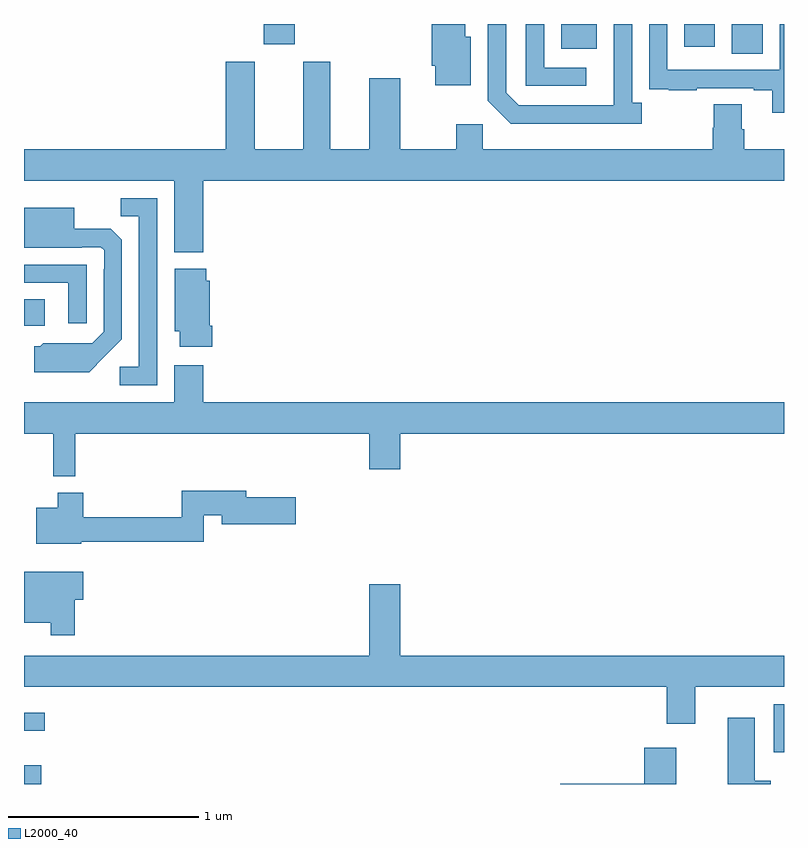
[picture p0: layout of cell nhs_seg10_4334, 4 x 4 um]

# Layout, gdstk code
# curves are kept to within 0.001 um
import gdstk
lib = gdstk.Library(unit=1e-6, precision=1e-09)
def R(c, l, rs):  # rectangles x0, y0, x1, y1
    for r in rs: c.add(gdstk.rectangle(r[:2], r[2:], *l))
def P(c, l, *ps):  # polygons
    for p in ps: c.add(gdstk.Polygon(p, *l))
L2000_40 = (2000, 40)

nhs_seg10_4334 = lib.new_cell('nhs_seg10_4334')
R(nhs_seg10_4334, L2000_40, [(355,1270.5,355.09,1270.6), (358.946,1270.667,359,1270.921), (355,1270.779,355.108,1270.876), (355,1272.912,355.108,1273.052), (358.724,1274.344,358.888,1274.5), (357.827,1274.369,358.015,1274.5), (358.475,1274.379,358.636,1274.5), (356.261,1274.394,356.425,1274.5)])
P(nhs_seg10_4334, L2000_40, [(359,1274.5),(358.977,1274.5),(358.977,1274.259),(358.386,1274.259),(358.386,1274.5),(358.29,1274.5),(358.29,1274.266),(358.291,1274.266),(358.291,1274.157),(358.393,1274.157),(358.393,1274.151),(358.541,1274.151),(358.541,1274.163),(358.841,1274.163),(358.841,1274.151),(358.937,1274.151),(358.937,1274.034),(359,1274.034)],
  [(357.958,1274.271),(357.738,1274.271),(357.738,1274.5),(357.642,1274.5),(357.642,1274.175),(357.958,1274.175)],
  [(357.352,1274.434),(357.322,1274.434),(357.322,1274.5),(357.145,1274.5),(357.145,1274.281),(357.164,1274.281),(357.164,1274.177),(357.352,1274.177)],
  [(358.252,1274.086),(358.2,1274.086),(358.2,1274.5),(358.104,1274.5),(358.103,1274.073),(357.603,1274.073),(357.537,1274.139),(357.537,1274.5),(357.441,1274.5),(357.441,1274.097),(357.562,1273.976),(358.252,1273.976)],
  [(355,1273.676),(355.79,1273.676),(355.79,1273.298),(355.943,1273.298),(355.943,1273.676),(359,1273.676),(359,1273.84),(358.79,1273.84),(358.79,1273.946),(358.777,1273.946),(358.777,1274.078),(358.63,1274.078),(358.63,1273.953),(358.625,1273.953),(358.625,1273.84),(357.414,1273.84),(357.414,1273.972),(357.275,1273.972),(357.275,1273.84),(356.98,1273.84),(356.98,1274.215),(356.816,1274.215),(356.816,1273.84),(356.611,1273.84),(356.611,1274.302),(356.471,1274.302),(356.471,1273.84),(356.215,1273.84),(356.215,1274.302),(356.063,1274.302),(356.063,1273.84),(355,1273.84)],
  [(355.701,1273.584),(355.51,1273.584),(355.51,1273.489),(355.605,1273.489),(355.605,1272.696),(355.503,1272.696),(355.503,1272.6),(355.701,1272.6)],
  [(355.423,1272.749),(355.515,1272.842),(355.515,1273.364),(355.456,1273.423),(355.264,1273.423),(355.264,1273.534),(355,1273.534),(355,1273.322),(355.304,1273.322),(355.304,1273.326),(355.404,1273.326),(355.422,1273.308),(355.422,1273.208),(355.419,1273.208),(355.419,1272.879),(355.359,1272.819),(355.102,1272.82),(355.086,1272.804),(355.055,1272.804),(355.055,1272.668),(355.343,1272.668)],
  [(355.329,1273.233),(355,1273.233),(355,1273.137),(355.233,1273.137),(355.233,1272.924),(355.329,1272.924)],
  [(355.991,1272.913),(355.978,1272.913),(355.978,1273.149),(355.96,1273.149),(355.96,1273.213),(355.793,1273.213),(355.793,1272.882),(355.82,1272.882),(355.82,1272.801),(355.991,1272.801)],
  [(355.271,1272.344),(356.816,1272.344),(356.816,1272.156),(356.98,1272.156),(356.98,1272.344),(359,1272.344),(359,1272.508),(355.943,1272.508),(355.943,1272.703),(355.79,1272.703),(355.79,1272.508),(355,1272.508),(355,1272.344),(355.154,1272.344),(355.154,1272.119),(355.271,1272.119)],
  [(355.3,1271.776),(355.947,1271.776),(355.947,1271.914),(356.042,1271.914),(356.042,1271.867),(356.431,1271.867),(356.431,1272.009),(356.17,1272.009),(356.17,1272.043),(355.831,1272.043),(355.831,1271.905),(355.313,1271.905),(355.313,1272.034),(355.178,1272.034),(355.178,1271.953),(355.064,1271.953),(355.064,1271.765),(355.3,1271.765)],
  [(355.268,1271.47),(355.312,1271.47),(355.312,1271.617),(355,1271.617),(355,1271.348),(355.14,1271.348),(355.14,1271.283),(355.268,1271.283)],
  [(358.534,1271.012),(359,1271.012),(359,1271.176),(356.98,1271.176),(356.98,1271.551),(356.816,1271.551),(356.816,1271.176),(355,1271.176),(355,1271.012),(358.382,1271.012),(358.382,1270.818),(358.534,1270.818)],
  [(358.93,1270.516),(358.846,1270.516),(358.846,1270.849),(358.703,1270.849),(358.703,1270.5),(358.93,1270.5)],
  [(358.432,1270.69),(358.265,1270.69),(358.265,1270.502),(357.822,1270.502),(357.822,1270.5),(358.432,1270.5)])

lib.write_gds('nhs_seg10_4334.gds')
